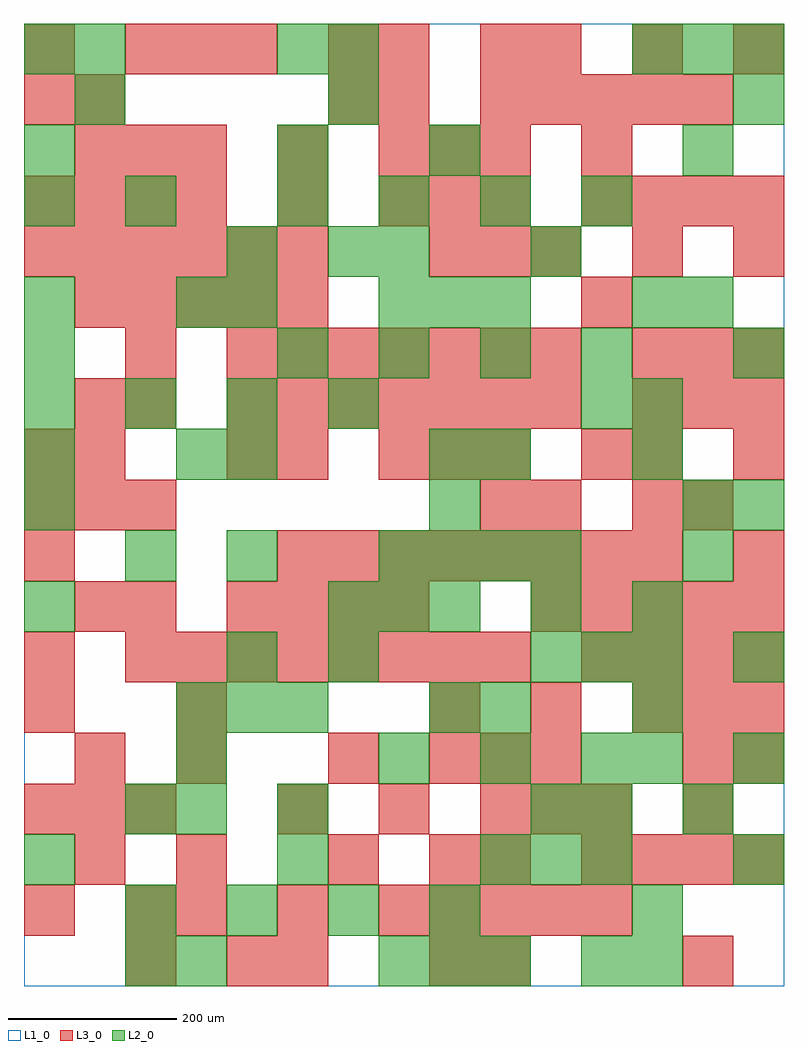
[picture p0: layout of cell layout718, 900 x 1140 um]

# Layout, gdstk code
import gdstk
lib = gdstk.Library(unit=1e-6, precision=1e-09)
def R(c, l, rs):  # rectangles x0, y0, x1, y1
    for r in rs: c.add(gdstk.rectangle(r[:2], r[2:], *l))
def A(c, l, x, y, w, h, nx, ny, dx, dy):  # array of equal rectangles
    R(c, l, [(x+i*dx, y+j*dy, x+i*dx+w, y+j*dy+h) for i in range(nx) for j in range(ny)])
L1_0 = (1, 0)
L2_0 = (2, 0)
L3_0 = (3, 0)

layout718 = lib.new_cell('layout718')
R(layout718, L1_0, [(0,0,900,1140)])
A(layout718, L2_0, 420, 0, 60, 60, 3, 2, 60, 780)
A(layout718, L2_0, 120, 60, 60, 60, 4, 1, 120, 0)
A(layout718, L2_0, 540, 120, 60, 60, 3, 1, 60, 0)
A(layout718, L2_0, 840, 120, 60, 60, 1, 3, 0, 120)
A(layout718, L2_0, 420, 240, 60, 60, 3, 1, 120, 0)
A(layout718, L2_0, 180, 300, 60, 60, 3, 1, 60, 0)
A(layout718, L2_0, 240, 360, 60, 60, 1, 3, 0, 120)
A(layout718, L2_0, 600, 360, 60, 60, 3, 1, 60, 0)
A(layout718, L2_0, 360, 420, 60, 60, 3, 1, 60, 0)
A(layout718, L2_0, 420, 480, 60, 60, 4, 1, 60, 0)
A(layout718, L2_0, 0, 660, 60, 60, 4, 1, 120, 0)
A(layout718, L2_0, 300, 720, 60, 60, 4, 2, 120, 180)
A(layout718, L2_0, 720, 1080, 60, 60, 3, 1, 60, 0)
R(layout718, L2_0, [(120,0,180,60), (180,0,240,60), (660,0,720,60), (720,0,780,60), (720,60,780,120), (0,120,60,180), (300,120,360,180), (120,180,180,240), (180,180,240,240), (300,180,360,240), (600,180,660,240), (660,180,720,240), (780,180,840,240), (180,240,240,300), (720,240,780,300), (480,300,540,360), (540,300,600,360), (720,300,780,360), (360,360,420,420), (0,420,60,480), (600,420,660,480), (720,420,780,480), (120,480,180,540), (780,480,840,540), (0,540,60,600), (480,540,540,600), (780,540,840,600), (840,540,900,600), (0,600,60,660), (180,600,240,660), (480,600,540,660), (540,600,600,660), (720,600,780,660), (660,660,720,720), (720,660,780,720), (0,720,60,780), (840,720,900,780), (0,780,60,840), (180,780,240,840), (240,780,300,840), (720,780,780,840), (780,780,840,840), (240,840,300,900), (360,840,420,900), (420,840,480,900), (600,840,660,900), (0,900,60,960), (120,900,180,960), (0,960,60,1020), (300,960,360,1020), (480,960,540,1020), (780,960,840,1020), (60,1020,120,1080), (360,1020,420,1080), (840,1020,900,1080), (0,1080,60,1140), (60,1080,120,1140), (300,1080,360,1140), (360,1080,420,1140)])
A(layout718, L3_0, 180, 60, 60, 60, 3, 1, 120, 0)
A(layout718, L3_0, 480, 60, 60, 60, 4, 1, 60, 0)
A(layout718, L3_0, 660, 120, 60, 60, 4, 2, 60, 240)
A(layout718, L3_0, 0, 180, 60, 60, 3, 2, 60, 360)
A(layout718, L3_0, 300, 180, 60, 60, 3, 1, 120, 0)
A(layout718, L3_0, 780, 180, 60, 60, 1, 3, 0, 60)
A(layout718, L3_0, 60, 240, 60, 60, 1, 3, 0, 180)
A(layout718, L3_0, 480, 240, 60, 60, 3, 2, 60, 600)
A(layout718, L3_0, 480, 300, 60, 60, 3, 1, 120, 0)
A(layout718, L3_0, 0, 360, 60, 60, 1, 3, 0, 120)
A(layout718, L3_0, 120, 360, 60, 60, 8, 1, 60, 0)
A(layout718, L3_0, 240, 420, 60, 60, 4, 1, 60, 0)
A(layout718, L3_0, 600, 420, 60, 60, 5, 1, 60, 0)
A(layout718, L3_0, 300, 480, 60, 60, 8, 1, 60, 0)
A(layout718, L3_0, 420, 600, 60, 60, 3, 2, 60, 300)
A(layout718, L3_0, 660, 600, 60, 60, 1, 3, 0, 180)
A(layout718, L3_0, 240, 660, 60, 60, 7, 2, 60, 60)
A(layout718, L3_0, 720, 660, 60, 60, 3, 2, 60, 60)
A(layout718, L3_0, 60, 780, 60, 60, 5, 1, 60, 0)
A(layout718, L3_0, 0, 840, 60, 60, 6, 1, 60, 0)
A(layout718, L3_0, 0, 900, 60, 60, 4, 1, 60, 0)
A(layout718, L3_0, 660, 900, 60, 60, 4, 1, 60, 0)
A(layout718, L3_0, 60, 960, 60, 60, 3, 1, 60, 0)
A(layout718, L3_0, 420, 960, 60, 60, 3, 1, 60, 0)
A(layout718, L3_0, 540, 1020, 60, 60, 5, 1, 60, 0)
A(layout718, L3_0, 120, 1080, 60, 60, 3, 1, 60, 0)
A(layout718, L3_0, 600, 1080, 60, 60, 3, 1, 120, 0)
R(layout718, L3_0, [(120,0,180,60), (240,0,300,60), (300,0,360,60), (480,0,540,60), (540,0,600,60), (780,0,840,60), (0,60,60,120), (120,60,180,120), (60,120,120,180), (180,120,240,180), (360,120,420,180), (480,120,540,180), (540,120,600,180), (600,180,660,240), (660,180,720,240), (180,240,240,300), (360,240,420,300), (840,240,900,300), (0,300,60,360), (180,300,240,360), (840,300,900,360), (120,420,180,480), (840,480,900,540), (540,540,600,600), (600,540,660,600), (720,540,780,600), (780,540,840,600), (240,600,300,660), (300,600,360,660), (720,600,780,660), (840,600,900,660), (60,660,120,720), (120,660,180,720), (120,720,180,780), (720,840,780,900), (840,840,900,900), (300,900,360,960), (300,960,360,1020), (0,1020,60,1080), (60,1020,120,1080), (360,1020,420,1080), (420,1020,480,1080), (0,1080,60,1140), (360,1080,420,1140), (420,1080,480,1140), (540,1080,600,1140)])

lib.write_gds('layout718.gds')
